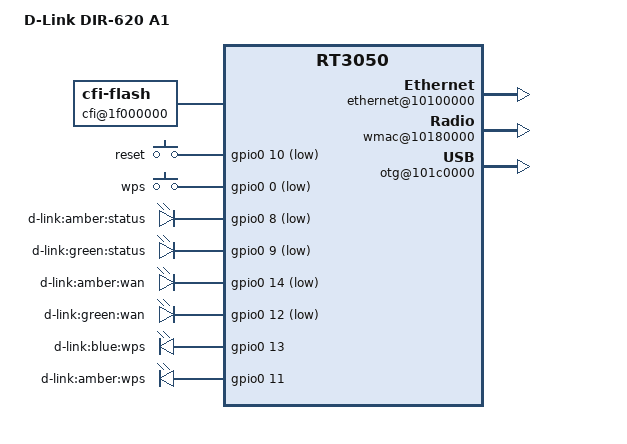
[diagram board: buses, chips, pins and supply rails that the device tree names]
/dts-v1/;

/include/ "rt3050.dtsi"

/ {
	#address-cells = <1>;
	#size-cells = <1>;
	compatible = "DIR-620-A1", "ralink,rt3050-soc";
	model = "D-Link DIR-620 A1";

	memorydetect {
		ralink,memory = <0x0 0x200000 0x4000000>;
	};

	chosen {
		bootargs = "console=ttyS0,57600 mtdparts=1f000000.cfi:192k(u-boot)ro,64k(u-boot-env)ro,64k(factory)ro,7872k@0x50000(firmware)";
	};

	palmbus@10000000 {
		sysc@0 {
			ralink,pinmmux = "i2c", "spi", "uartlite", "jtag", "mdio", "sdram", "rgmii";
			ralink,uartmux = "gpio";
			ralink,wdtmux = <1>;
		};

		gpio0: gpio@600 {
			status = "okay";
		};

	};

	cfi@1f000000 {
		compatible = "cfi-flash";
		reg = <0x1f000000 0x800000>;

		bank-width = <2>;
		device-width = <2>;
		#address-cells = <1>;
		#size-cells = <1>;
	};

	ethernet@10100000 {
		status = "okay";
	};

	esw@10110000 {
		status = "okay";
		ralink,portmap = <0x2f>;
	};

	gpio-keys-polled {
		compatible = "gpio-keys-polled";
		#address-cells = <1>;
		#size-cells = <0>;
		poll-interval = <20>;
		reset {
			label = "reset";
			gpios = <&gpio0 10 1>;
			linux,code = <0x198>;
		};
		wps {
			label = "wps";
			gpios = <&gpio0 0 1>;
			linux,code = <0x211>;
		};
	};

	wmac@10180000 {
		status = "okay";
	};

	gpio-leds {
		compatible = "gpio-leds";
		status {
			label = "d-link:amber:status";
			gpios = <&gpio0 8 1>;
		};
		status2 {
			label = "d-link:green:status";
			gpios = <&gpio0 9 1>;
		};
		wan {
			label = "d-link:amber:wan";
			gpios = <&gpio0 14 1>;
		};
		wan2 {
			label = "d-link:green:wan";
			gpios = <&gpio0 12 1>;
		};
		wps {
			label = "d-link:blue:wps";
			gpios = <&gpio0 13 0>;
		};
		wps2 {
			label = "d-link:amber:wps";
			gpios = <&gpio0 11 0>;
		};
	};

	otg@101c0000 {
		status = "okay";
	};
};
